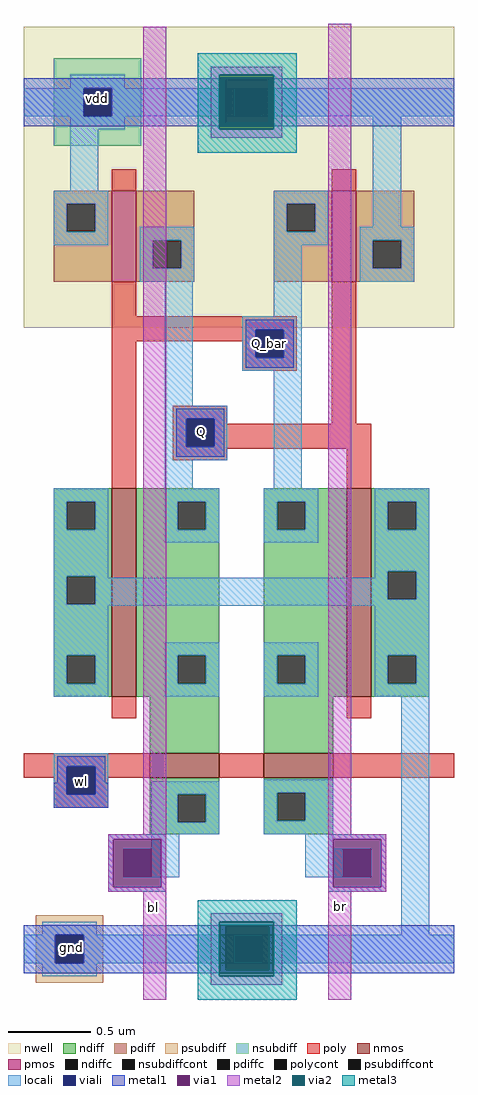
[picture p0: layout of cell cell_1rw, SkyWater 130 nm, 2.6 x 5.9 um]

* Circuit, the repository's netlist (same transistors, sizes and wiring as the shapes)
* NGSPICE file created from cell_1rw.ext - technology: sky130A

.subckt cell_1rw bl br wl vdd gnd
X0 Q wl bl gnd sky130_fd_pr__nfet_01v8 ad=7.728e+11p pd=4.2e+06u as=1.428e+11p ps=1.52e+06u w=420000u l=150000u
X1 gnd Q Q_bar gnd sky130_fd_pr__nfet_01v8 ad=8.82e+11p pd=6.44e+06u as=7.728e+11p ps=4.2e+06u w=1.26e+06u l=150000u
X2 Q Q_bar gnd gnd sky130_fd_pr__nfet_01v8 ad=0p pd=0u as=0p ps=0u w=1.26e+06u l=150000u
X3 Q_bar wl br gnd sky130_fd_pr__nfet_01v8 ad=0p pd=0u as=1.428e+11p ps=1.52e+06u w=420000u l=150000u
X4 vdd Q Q_bar vdd sky130_fd_pr__pfet_01v8 ad=3.85e+11p pd=3.6e+06u as=1.925e+11p ps=1.8e+06u w=550000u l=150000u
X5 Q Q_bar vdd vdd sky130_fd_pr__pfet_01v8 ad=1.925e+11p pd=1.8e+06u as=0p ps=0u w=550000u l=150000u
.ends

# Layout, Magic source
magic
tech sky130A
<< nwell >>
rect 0 376 260 558
<< nmos >>
rect 53 153 68 279
rect 195 153 210 279
rect 76 104 118 119
rect 145 104 187 119
<< pmos >>
rect 53 404 68 459
rect 186 404 201 459
<< ndiff >>
rect 18 271 53 279
rect 18 254 26 271
rect 43 254 53 271
rect 18 226 53 254
rect 18 209 26 226
rect 43 209 53 226
rect 18 178 53 209
rect 18 161 26 178
rect 43 161 53 178
rect 18 153 53 161
rect 68 271 118 279
rect 68 254 93 271
rect 110 254 118 271
rect 68 178 118 254
rect 68 161 93 178
rect 110 161 118 178
rect 68 153 118 161
rect 76 119 118 153
rect 145 271 195 279
rect 145 254 153 271
rect 170 254 195 271
rect 145 178 195 254
rect 145 161 153 178
rect 170 161 195 178
rect 145 153 195 161
rect 210 271 245 279
rect 210 254 220 271
rect 237 254 245 271
rect 210 229 245 254
rect 210 212 220 229
rect 237 212 245 229
rect 210 178 245 212
rect 210 161 220 178
rect 237 161 245 178
rect 210 153 245 161
rect 145 119 187 153
rect 76 94 118 104
rect 76 77 93 94
rect 110 77 118 94
rect 76 70 118 77
rect 145 95 187 104
rect 145 78 153 95
rect 170 78 187 95
rect 145 70 187 78
<< pdiff >>
rect 18 451 53 459
rect 18 434 26 451
rect 43 434 53 451
rect 18 404 53 434
rect 68 429 103 459
rect 68 412 78 429
rect 95 412 103 429
rect 68 404 103 412
rect 151 451 186 459
rect 151 434 159 451
rect 176 434 186 451
rect 151 404 186 434
rect 201 429 236 459
rect 201 412 211 429
rect 228 412 236 429
rect 201 404 236 412
<< ndiffc >>
rect 26 254 43 271
rect 26 209 43 226
rect 26 161 43 178
rect 93 254 110 271
rect 93 161 110 178
rect 153 254 170 271
rect 153 161 170 178
rect 220 254 237 271
rect 220 212 237 229
rect 220 161 237 178
rect 93 77 110 94
rect 153 78 170 95
<< pdiffc >>
rect 26 434 43 451
rect 78 412 95 429
rect 159 434 176 451
rect 211 412 228 429
<< psubdiff >>
rect 7 9 48 21
rect 7 -8 19 9
rect 36 -8 48 9
rect 7 -20 48 -8
<< nsubdiff >>
rect 18 521 71 539
rect 18 504 36 521
rect 53 504 71 521
rect 18 486 71 504
<< psubdiffcont >>
rect 19 -8 36 9
<< nsubdiffcont >>
rect 36 504 53 521
<< poly >>
rect 53 459 68 472
rect 186 459 201 472
rect 53 383 68 404
rect 53 375 165 383
rect 53 368 140 375
rect 53 279 68 368
rect 132 358 140 368
rect 157 358 165 375
rect 132 350 165 358
rect 90 321 123 329
rect 90 304 98 321
rect 115 318 123 321
rect 186 318 201 404
rect 115 304 210 318
rect 90 303 210 304
rect 90 296 123 303
rect 195 279 210 303
rect 53 140 68 153
rect 195 140 210 153
rect 0 111 76 119
rect 0 104 26 111
rect 18 94 26 104
rect 43 104 76 111
rect 118 104 145 119
rect 187 104 260 119
rect 43 94 51 104
rect 18 86 51 94
<< polycont >>
rect 140 358 157 375
rect 98 304 115 321
rect 26 94 43 111
<< locali >>
rect 28 521 61 529
rect 0 504 36 521
rect 53 504 127 521
rect 144 504 260 521
rect 28 496 61 504
rect 28 459 45 496
rect 18 451 51 459
rect 18 434 26 451
rect 43 434 51 451
rect 151 451 184 459
rect 18 426 51 434
rect 70 429 103 437
rect 70 412 78 429
rect 95 412 103 429
rect 70 404 103 412
rect 151 434 159 451
rect 176 434 184 451
rect 211 437 228 504
rect 151 426 184 434
rect 203 429 236 437
rect 85 329 102 404
rect 151 383 168 426
rect 203 412 211 429
rect 228 412 236 429
rect 203 404 236 412
rect 132 375 168 383
rect 132 358 140 375
rect 157 358 168 375
rect 132 350 168 358
rect 85 321 123 329
rect 85 304 98 321
rect 115 304 123 321
rect 85 296 123 304
rect 85 279 102 296
rect 151 279 168 350
rect 18 271 51 279
rect 18 254 26 271
rect 43 254 51 271
rect 18 226 51 254
rect 85 271 118 279
rect 85 254 93 271
rect 110 254 118 271
rect 85 246 118 254
rect 145 271 178 279
rect 145 254 153 271
rect 170 254 178 271
rect 145 246 178 254
rect 212 271 245 279
rect 212 254 220 271
rect 237 254 245 271
rect 18 209 26 226
rect 43 225 51 226
rect 212 229 245 254
rect 212 225 220 229
rect 43 212 220 225
rect 237 212 245 229
rect 43 209 245 212
rect 18 208 245 209
rect 18 178 51 208
rect 18 161 26 178
rect 43 161 51 178
rect 18 153 51 161
rect 85 178 118 186
rect 85 161 93 178
rect 110 161 118 178
rect 85 153 118 161
rect 145 178 178 186
rect 145 161 153 178
rect 170 161 178 178
rect 145 153 178 161
rect 212 178 245 208
rect 212 161 220 178
rect 237 161 245 178
rect 212 153 245 161
rect 18 111 51 119
rect 18 94 26 111
rect 43 94 51 111
rect 18 86 51 94
rect 77 94 118 102
rect 77 77 93 94
rect 110 77 118 94
rect 77 70 118 77
rect 145 95 187 103
rect 145 78 153 95
rect 170 78 187 95
rect 145 70 187 78
rect 77 44 94 70
rect 170 61 187 70
rect 170 44 193 61
rect 11 9 44 17
rect 228 9 245 153
rect 0 -8 19 9
rect 36 -8 127 9
rect 144 -8 260 9
rect 11 -16 44 -8
<< viali >>
rect 36 504 53 521
rect 127 504 144 521
rect 140 358 157 375
rect 98 304 115 321
rect 26 94 43 111
rect 60 44 77 61
rect 193 44 210 61
rect 19 -8 36 9
rect 127 -8 144 9
<< metal1 >>
rect 0 526 260 527
rect 0 521 122 526
rect 0 504 36 521
rect 53 504 122 521
rect 0 500 122 504
rect 148 500 260 526
rect 0 498 260 500
rect 134 375 163 381
rect 134 358 140 375
rect 157 358 163 375
rect 134 352 163 358
rect 92 321 121 327
rect 92 304 98 321
rect 115 304 121 321
rect 92 298 121 304
rect 20 111 49 117
rect 20 101 26 111
rect 18 94 26 101
rect 43 101 49 111
rect 43 94 51 101
rect 18 86 51 94
rect 51 67 86 70
rect 51 38 54 67
rect 83 38 86 67
rect 51 35 86 38
rect 184 67 219 70
rect 184 38 187 67
rect 216 38 219 67
rect 184 35 219 38
rect 0 14 260 15
rect 0 9 122 14
rect 0 -8 19 9
rect 36 -8 122 9
rect 0 -12 122 -8
rect 148 -12 260 14
rect 0 -14 260 -12
<< via1 >>
rect 122 521 148 526
rect 122 504 127 521
rect 127 504 144 521
rect 144 504 148 521
rect 122 500 148 504
rect 54 61 83 67
rect 54 44 60 61
rect 60 44 77 61
rect 77 44 83 61
rect 54 38 83 44
rect 187 61 216 67
rect 187 44 193 61
rect 193 44 210 61
rect 210 44 216 61
rect 187 38 216 44
rect 122 9 148 14
rect 122 -8 127 9
rect 127 -8 144 9
rect 144 -8 148 9
rect 122 -12 148 -8
<< metal2 >>
rect 72 70 86 558
rect 113 529 156 534
rect 113 496 118 529
rect 151 496 156 529
rect 113 491 156 496
rect 51 67 86 70
rect 51 38 54 67
rect 83 38 86 67
rect 51 35 86 38
rect 72 -30 86 35
rect 184 70 198 560
rect 184 67 219 70
rect 184 38 187 67
rect 216 38 219 67
rect 184 35 219 38
rect 113 17 156 22
rect 113 -16 118 17
rect 151 -16 156 17
rect 113 -21 156 -16
rect 184 -30 198 35
<< via2 >>
rect 118 526 151 529
rect 118 500 122 526
rect 122 500 148 526
rect 148 500 151 526
rect 118 496 151 500
rect 118 14 151 17
rect 118 -12 122 14
rect 122 -12 148 14
rect 148 -12 151 14
rect 118 -16 151 -12
<< metal3 >>
rect 105 529 165 542
rect 105 496 118 529
rect 151 496 165 529
rect 105 482 165 496
rect 105 17 165 30
rect 105 -16 118 17
rect 151 -16 165 17
rect 105 -30 165 -16
<< labels >>
flabel metal1 s 28 96 41 107 0 FreeSans 200 0 0 0 wl
port 3 nsew
flabel metal1 s 38 509 51 520 0 FreeSans 200 0 0 0 vdd
port 4 nsew
flabel metal1 s 143 361 154 372 0 FreeSans 200 0 0 0 Q_bar
flabel metal1 s 102 308 113 319 0 FreeSans 200 0 0 0 Q
flabel metal1 s 22 -4 35 7 0 FreeSans 200 0 0 0 gnd
port 5 nsew
flabel metal2 s 74 20 83 31 0 FreeSans 200 0 0 0 bl
port 0 nsew
flabel metal2 s 187 21 196 32 0 FreeSans 200 0 0 0 br
port 1 nsew
<< properties >>
string FIXED_BBOX 0 0 260 513
<< end >>
